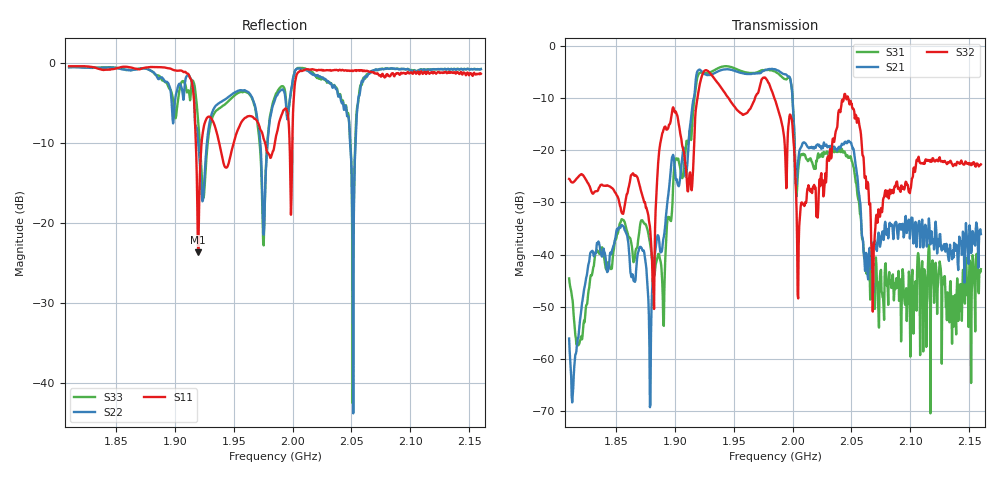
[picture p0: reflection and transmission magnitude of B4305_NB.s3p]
! Matrix data file written by TouchstoneData, EPCOS AG
! FILENAME: "B4305_Pcb01_NB.s3p_newformat"
! COMMENT: "(B4305_Pcb01_NB.s3p) Epcos AG 3/7/2011 2:08:"
! INFO: nport=3, nfreq=801
! DATE: "Mon Apr 18 16:11:33 2011"
! USER: "Sergey Rostovtsev"
! port | pin | signal
!  1  |  1  |  in
!  2  |  3  |  out
!  3  |  4  |  out
# MHZ S MA R 50
! freq  magS11 angS11  magS12 angS12  magS13 angS13  ...
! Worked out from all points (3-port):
!   801 points, 1.81 GHz to 2.16 GHz, reference 50 ohm
!   strongest paths, dB at 1.81 GHz, 1.897 GHz, 1.985 GHz, 2.072 GHz, 2.16 GHz:
!     S32: -25.5, -12.7, -10.4, -33.1, -22.7
!     S21: -56.1, -21.4, -4.5, -36.7, -36.1
!     S31: -44.6, -31.6, -4.9, -48.9, -42.8
!   lowest |S11| = -23.6 dB at 1.92 GHz (marker M1), VSWR 1.14, Z = 43.8 + j0.314 ohm
!   |S11| at or under -10 dB: 1.917716 GHz to 1.922608 GHz (4.893 MHz wide, 0.255 % of centre); 1.938 GHz to 1.95 GHz (12.18 MHz wide, 0.627 % of centre); 1.976627 GHz to 1.984866 GHz (8.239 MHz wide, 0.416 % of centre)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
1810  0.9545 -122.6  0.001618 -88.2  0.006025 30.1
      0.001573 -88.9  0.9398 -89.7  0.05318 2.8
      0.005909 30.3  0.0529 2.9  0.9427 -89.7
1854.625  0.9444 -132.0  0.02004 6.5  0.02222 166.3
          0.01921 6.4  0.9139 -99.7  0.02473 22.2
          0.0218 166.3  0.02534 22.3  0.9208 -99.5
1879.125  0.9442 -143.6  0.0003849 137.6  0.01223 119.9
          0.0003687 141.7  0.8967 -111.5  0.01586 18.9
          0.01206 119.7  0.01621 19.0  0.8984 -111.7
1919.812  0.06603 176.9  0.5777 8.7  0.5251 -169.7
          0.5789 8.7  0.3134 168.5  0.3568 141.6
          0.5236 -169.6  0.3546 141.7  0.4222 171.3
1939.938  0.2603 90.5  0.5845 -103.6  0.6295 77.5
          0.5852 -103.6  0.5767 -65.7  0.3871 -35.8
          0.627 77.5  0.3848 -36.0  0.5352 -66.0
1985  0.3207 63.5  0.5913 96.8  0.5679 -83.0
      0.5932 97.0  0.5913 -31.5  0.3044 4.5
      0.5657 -83.0  0.3029 4.3  0.6196 -31.5
2005.125  0.8799 -18.6  0.08755 49.9  0.07194 -134.8
          0.08787 50.1  0.923 -55.1  0.01198 62.1
          0.07172 -134.7  0.01226 62.1  0.9307 -55.1
2045.375  0.8993 -77.8  0.12 -10.1  0.0876 152.0
          0.1202 -10.2  0.5343 -97.7  0.3175 11.2
          0.08729 152.1  0.3153 11.3  0.5445 -97.3
2068.562  0.8733 -88.0  0.01363 8.5  0.003589 101.7
          0.01306 8.4  0.8997 -49.9  0.005777 57.5
          0.003529 101.7  0.005921 57.6  0.8949 -49.8
2160  0.8568 -98.2  0.01642 3.9  0.007377 168.9
      0.01571 3.7  0.915 -75.8  0.0733 19.3
      0.007249 169.0  0.07291 19.4  0.9174 -76.1
